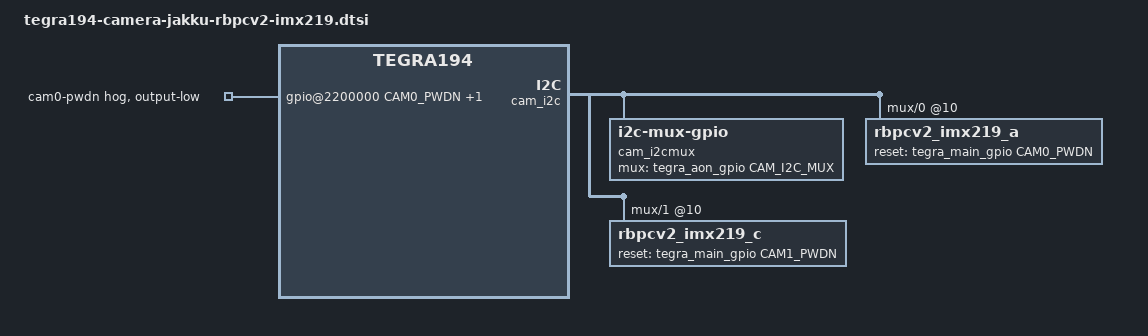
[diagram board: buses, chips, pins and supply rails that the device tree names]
/*
 * Copyright (c) 2018-2020, NVIDIA CORPORATION.  All rights reserved.
 *
 * This program is free software; you can redistribute it and/or modify
 * it under the terms of the GNU General Public License as published by
 * the Free Software Foundation; either version 2 of the License, or
 * (at your option) any later version.
 *
 * This program is distributed in the hope that it will be useful, but WITHOUT
 * ANY WARRANTY; without even the implied warranty of MERCHANTABILITY or
 * FITNESS FOR A PARTICULAR PURPOSE.  See the GNU General Public License for
 * more details.
 *
 * You should have received a copy of the GNU General Public License
 * along with this program.  If not, see <http://www.gnu.org/licenses/>.
 */

#include "tegra194-camera-rbpcv2-imx219.dtsi"

#define CAM0_PWDN	TEGRA194_MAIN_GPIO(P, 4)
#define CAM1_PWDN	TEGRA194_MAIN_GPIO(P, 5)
#define CAM_I2C_MUX 	TEGRA194_AON_GPIO(CC, 3)

/ {
	cam_i2cmux{
		compatible = "i2c-mux-gpio";
		#address-cells = <1>;
		#size-cells = <0>;
		i2c-parent = <&cam_i2c>;
		mux-gpios = <&tegra_aon_gpio CAM_I2C_MUX GPIO_ACTIVE_HIGH>;
		i2c@0 {
			reg = <0>;
			#address-cells = <1>;
			#size-cells = <0>;
			rbpcv2_imx219_a@10 {
				reset-gpios = <&tegra_main_gpio CAM0_PWDN GPIO_ACTIVE_HIGH>;
			};
		};
		i2c@1 {
			reg = <1>;
			#address-cells = <1>;
			#size-cells = <0>;
			rbpcv2_imx219_c@10 {
				reset-gpios = <&tegra_main_gpio CAM1_PWDN GPIO_ACTIVE_HIGH>;
			};
		};
	};

	gpio@2200000 {
		camera-control-output-low {
			gpio-hog;
			output-low;
			gpios = <CAM0_PWDN 0 CAM1_PWDN 0>;
			label = "cam0-pwdn","cam1-pwdn";
		};
	};
};
